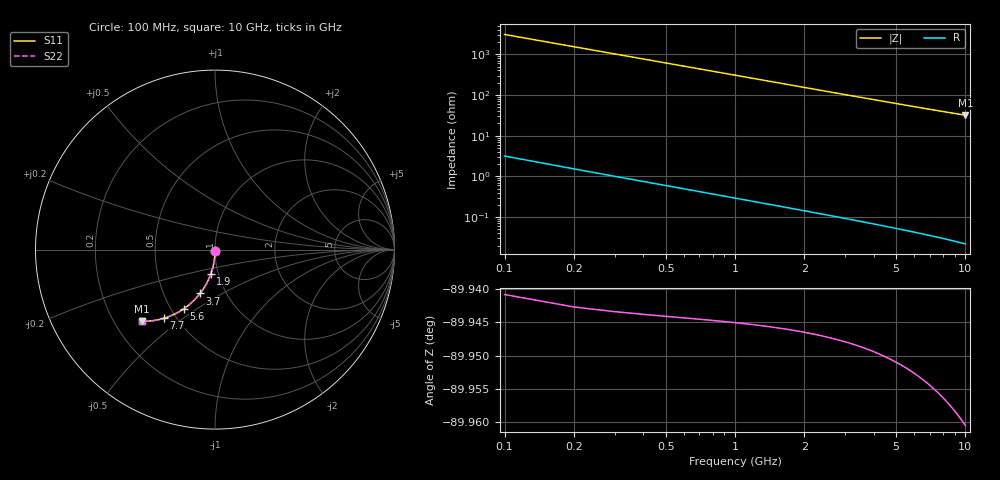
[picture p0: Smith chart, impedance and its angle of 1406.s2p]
# Hz S RI R 50.00
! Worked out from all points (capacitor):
!   100 points, 100 MHz to 10 GHz, reference 50 ohm
!   read as one part in shunt: C = 519 fF near 100 MHz
!   lowest |Z| = 31.9 ohm at 10 GHz (marker M1)
!   S11 on the Smith chart (normalised r, x): 100 MHz: 1.00, -0.01; 1.9 GHz: 0.92, -0.25; 3.7 GHz: 0.76, -0.40; 5.6 GHz: 0.58, -0.44; 7.7 GHz: 0.43, -0.43; 10 GHz: 0.32, -0.37
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1e8  0.000284 -0.00724  0.9996 -0.00906  0.9996 -0.00906  0.000284 -0.00724
2e8  8.2e-05 -0.0145  0.9994 -0.0181  0.9994 -0.0181  8.2e-05 -0.0145
3e8  -0.000252 -0.0217  0.999 -0.0272  0.999 -0.0272  -0.000252 -0.0217
4e8  -0.000717 -0.0289  0.9985 -0.0362  0.9985 -0.0362  -0.000717 -0.0289
5e8  -0.00131 -0.0362  0.9979 -0.0452  0.9979 -0.0452  -0.00131 -0.0362
6e8  -0.00204 -0.0434  0.9972 -0.0542  0.9972 -0.0542  -0.00204 -0.0434
8e8  -0.00388 -0.0577  0.9953 -0.0722  0.9953 -0.0722  -0.00388 -0.0577
1.1e9  -0.0076 -0.079  0.9915 -0.099  0.9915 -0.099  -0.0076 -0.079
1.4e9  -0.0125 -0.1  0.9865 -0.1254  0.9865 -0.1254  -0.0125 -0.1
1.8e9  -0.0206 -0.1275  0.9781 -0.1602  0.9781 -0.1602  -0.0206 -0.1275
1.9e9  -0.023 -0.1342  0.9757 -0.1687  0.9757 -0.1687  -0.023 -0.1342
2.2e9  -0.0307 -0.1541  0.9678 -0.194  0.9678 -0.194  -0.0307 -0.1541
2.6e9  -0.0425 -0.1797  0.9556 -0.227  0.9556 -0.227  -0.0425 -0.1797
3.4e9  -0.0709 -0.2275  0.9264 -0.2893  0.9264 -0.2893  -0.0709 -0.2275
3.7e9  -0.083 -0.244  0.9139 -0.3114  0.9139 -0.3114  -0.083 -0.244
4.4e9  -0.1139 -0.2795  0.8821 -0.3597  0.8821 -0.3597  -0.1139 -0.2795
5.1e9  -0.1477 -0.3103  0.8471 -0.4034  0.8471 -0.4034  -0.1477 -0.3103
5.6e9  -0.1733 -0.3293  0.8206 -0.4318  0.8206 -0.4318  -0.1733 -0.3293
6.7e9  -0.232 -0.3627  0.7596 -0.4857  0.7596 -0.4857  -0.232 -0.3627
7.7e9  -0.2864 -0.3832  0.7026 -0.525  0.7026 -0.525  -0.2864 -0.3832
8.4e9  -0.3242 -0.3923  0.6628 -0.5475  0.6628 -0.5475  -0.3242 -0.3923
1e10  -0.4072 -0.3994  0.5744 -0.5855  0.5744 -0.5855  -0.4072 -0.3994
